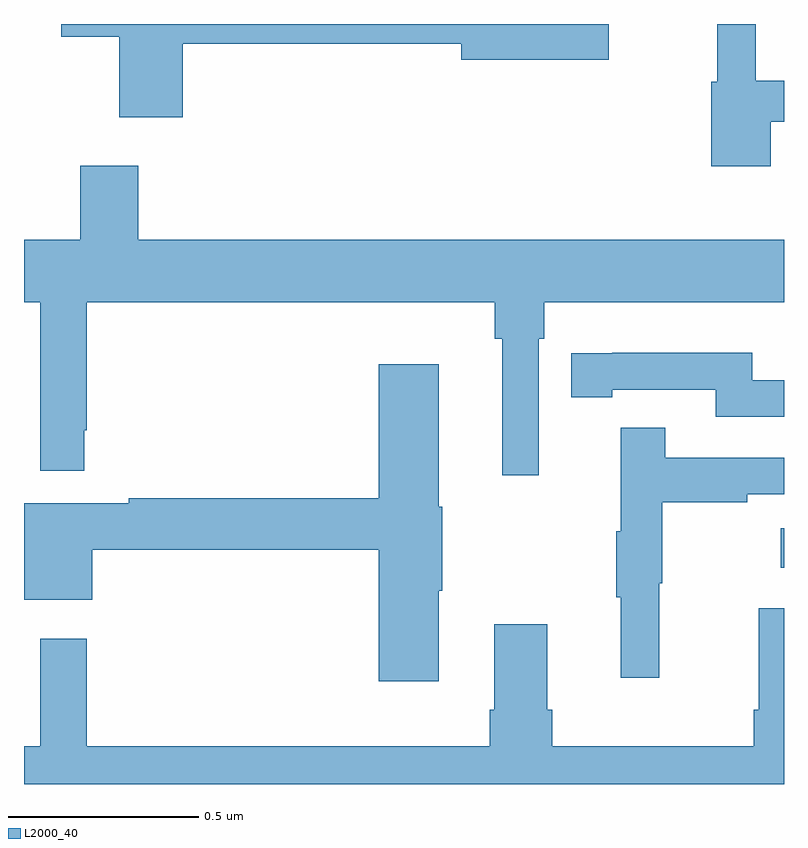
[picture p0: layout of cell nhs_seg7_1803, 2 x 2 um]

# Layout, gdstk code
import gdstk
lib = gdstk.Library(unit=1e-6, precision=1e-09)
def R(c, l, rs):  # rectangles x0, y0, x1, y1
    for r in rs: c.add(gdstk.rectangle(r[:2], r[2:], *l))
def P(c, l, *ps):  # polygons
    for p in ps: c.add(gdstk.Polygon(p, *l))
L2000_40 = (2000, 40)

nhs_seg7_1803 = lib.new_cell('nhs_seg7_1803')
R(nhs_seg7_1803, L2000_40, [(137.991,1014.569,138,1014.673)])
P(nhs_seg7_1803, L2000_40, [(137.965,1015.743),(138,1015.743),(138,1015.851),(137.925,1015.851),(137.925,1016),(137.824,1016),(137.824,1015.848),(137.809,1015.848),(137.809,1015.626),(137.965,1015.626)],
  [(136.418,1015.948),(137.15,1015.948),(137.15,1015.906),(137.539,1015.906),(137.539,1016),(136.098,1016),(136.098,1015.966),(136.25,1015.966),(136.25,1015.755),(136.418,1015.755)],
  [(137.355,1015.172),(137.369,1015.172),(137.369,1015.268),(138,1015.268),(138,1015.432),(136.301,1015.432),(136.301,1015.627),(136.148,1015.627),(136.148,1015.432),(136,1015.432),(136,1015.268),(136.043,1015.268),(136.043,1014.824),(136.158,1014.824),(136.158,1014.931),(136.165,1014.931),(136.165,1015.268),(137.239,1015.268),(137.239,1015.172),(137.258,1015.172),(137.258,1014.813),(137.355,1014.813)],
  [(138,1015.062),(137.916,1015.062),(137.916,1015.135),(137.548,1015.135),(137.548,1015.134),(137.44,1015.134),(137.44,1015.018),(137.548,1015.018),(137.548,1015.038),(137.82,1015.038),(137.82,1014.966),(138,1014.966)],
  [(137.092,1014.508),(137.1,1014.508),(137.1,1014.729),(137.092,1014.729),(137.092,1015.105),(136.934,1015.105),(136.934,1014.752),(136.276,1014.752),(136.276,1014.739),(136,1014.739),(136,1014.485),(136.18,1014.485),(136.18,1014.616),(136.934,1014.616),(136.934,1014.27),(137.092,1014.27)],
  [(137.672,1014.528),(137.68,1014.528),(137.68,1014.742),(137.903,1014.742),(137.903,1014.762),(138,1014.762),(138,1014.858),(137.687,1014.858),(137.687,1014.937),(137.57,1014.937),(137.57,1014.665),(137.559,1014.665),(137.559,1014.491),(137.57,1014.491),(137.57,1014.279),(137.672,1014.279)],
  [(138,1014.463),(137.933,1014.463),(137.933,1014.196),(137.921,1014.196),(137.921,1014.1),(137.39,1014.1),(137.39,1014.196),(137.377,1014.196),(137.377,1014.421),(137.237,1014.421),(137.237,1014.196),(137.225,1014.196),(137.225,1014.1),(136.165,1014.1),(136.165,1014.382),(136.043,1014.382),(136.043,1014.1),(136,1014.1),(136,1014),(138,1014)])

lib.write_gds('nhs_seg7_1803.gds')
